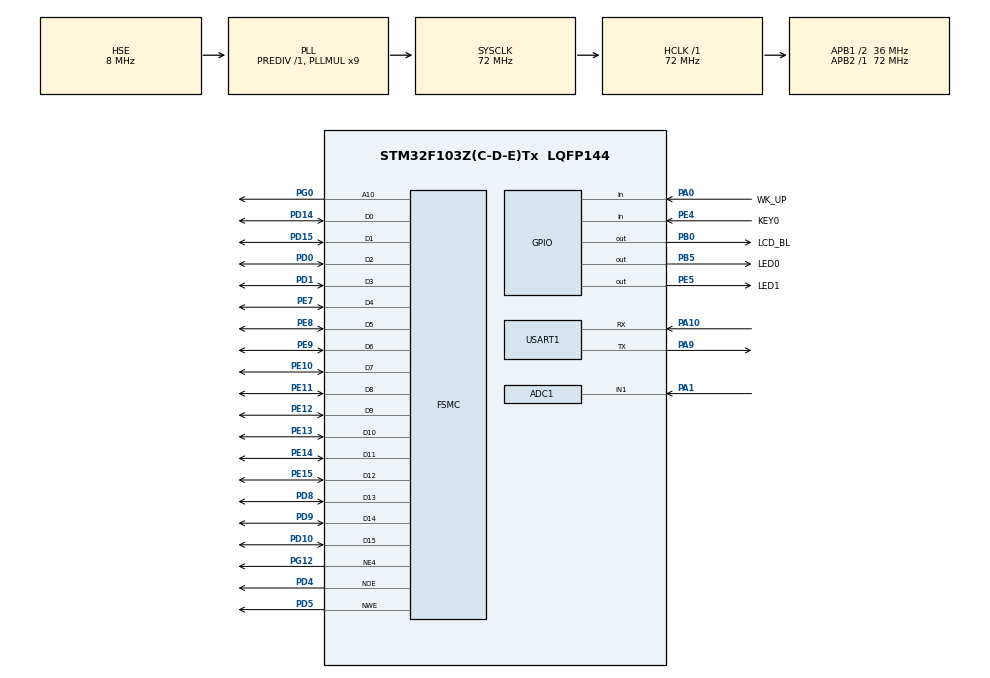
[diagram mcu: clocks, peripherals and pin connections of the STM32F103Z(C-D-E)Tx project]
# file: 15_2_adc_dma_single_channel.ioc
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ADC1.Channel-1\#ChannelRegularConversion=ADC_CHANNEL_1
ADC1.ContinuousConvMode=ENABLE
ADC1.NbrOfConversionFlag=1
ADC1.Rank-1\#ChannelRegularConversion=1
ADC1.SamplingTime-1\#ChannelRegularConversion=ADC_SAMPLETIME_239CYCLES_5
ADC1.master=1
Dma.ADC1.0.Direction=DMA_PERIPH_TO_MEMORY
Dma.ADC1.0.Instance=DMA1_Channel1
Dma.ADC1.0.MemDataAlignment=DMA_MDATAALIGN_HALFWORD
Dma.ADC1.0.MemInc=DMA_MINC_ENABLE
Dma.ADC1.0.Mode=DMA_NORMAL
Dma.ADC1.0.PeriphDataAlignment=DMA_PDATAALIGN_HALFWORD
Dma.ADC1.0.PeriphInc=DMA_PINC_DISABLE
Dma.ADC1.0.Priority=DMA_PRIORITY_MEDIUM
Dma.Request0=ADC1
FSMC.AddressSetupTime1=0
FSMC.DataSetupTime1=15
FSMC.ExtendedAddressSetupTime1=0
FSMC.ExtendedDataSetupTime1=1
FSMC.ExtendedMode1=FSMC_EXTENDED_MODE_ENABLE
Mcu.Family=STM32F1
Mcu.Name=STM32F103Z(C-D-E)Tx
Mcu.Package=LQFP144
NVIC.DMA1_Channel1_IRQn=true\:2\:1\:true\:false\:true\:false\:true\:true
NVIC.PriorityGroup=NVIC_PRIORITYGROUP_2
NVIC.USART1_IRQn=true\:2\:2\:true\:false\:true\:true\:true\:true
OSC_IN.Mode=HSE-External-Oscillator
OSC_IN.Signal=RCC_OSC_IN
OSC_OUT.Mode=HSE-External-Oscillator
OSC_OUT.Signal=RCC_OSC_OUT
PA0-WKUP.GPIO_Label=WK_UP
PA0-WKUP.GPIO_PuPd=GPIO_PULLDOWN
PA0-WKUP.Signal=GPIO_Input
PA1.Signal=ADCx_IN1
PA10.Mode=Asynchronous
PA10.Signal=USART1_RX
PA13.Mode=Serial_Wire
PA13.Signal=SYS_JTMS-SWDIO
PA14.Mode=Serial_Wire
PA14.Signal=SYS_JTCK-SWCLK
PA9.Mode=Asynchronous
PA9.Signal=USART1_TX
PB0.GPIO_Label=LCD_BL
PB0.GPIO_PuPd=GPIO_PULLUP
PB0.GPIO_Speed=GPIO_SPEED_FREQ_HIGH
PB0.PinState=GPIO_PIN_SET
PB0.Signal=GPIO_Output
PB5.GPIO_Label=LED0
PB5.GPIO_PuPd=GPIO_PULLDOWN
PB5.GPIO_Speed=GPIO_SPEED_FREQ_HIGH
PB5.PinState=GPIO_PIN_SET
PB5.Signal=GPIO_Output
PC14-OSC32_IN.Mode=LSE-External-Oscillator
PC14-OSC32_IN.Signal=RCC_OSC32_IN
PC15-OSC32_OUT.Mode=LSE-External-Oscillator
PC15-OSC32_OUT.Signal=RCC_OSC32_OUT
PD0.Signal=FSMC_D2_DA2
PD1.Signal=FSMC_D3_DA3
PD10.Signal=FSMC_D15_DA15
PD14.Signal=FSMC_D0_DA0
PD15.Signal=FSMC_D1_DA1
PD4.Signal=FSMC_NOE
PD5.Signal=FSMC_NWE
PD8.Signal=FSMC_D13_DA13
PD9.Signal=FSMC_D14_DA14
PE10.Signal=FSMC_D7_DA7
PE11.Signal=FSMC_D8_DA8
PE12.Signal=FSMC_D9_DA9
PE13.Signal=FSMC_D10_DA10
PE14.Signal=FSMC_D11_DA11
PE15.Signal=FSMC_D12_DA12
PE4.GPIO_Label=KEY0
PE4.GPIO_PuPd=GPIO_PULLDOWN
PE4.Signal=GPIO_Input
PE5.GPIO_Label=LED1
PE5.GPIO_PuPd=GPIO_PULLDOWN
PE5.GPIO_Speed=GPIO_SPEED_FREQ_HIGH
PE5.PinState=GPIO_PIN_SET
PE5.Signal=GPIO_Output
PE7.Signal=FSMC_D4_DA4
PE8.Signal=FSMC_D5_DA5
PE9.Signal=FSMC_D6_DA6
PG0.Signal=FSMC_A10
PG12.Mode=NorPsramChipSelect4_1
PG12.Signal=FSMC_NE4
ProjectManager.HeapSize=0x200
ProjectManager.StackSize=0x400
ProjectManager.TargetToolchain=STM32CubeIDE
RCC.ADCPresc=RCC_ADCPCLK2_DIV6
RCC.AHBFreq_Value=72000000
RCC.APB1CLKDivider=RCC_HCLK_DIV2
RCC.APB1Freq_Value=36000000
RCC.APB1TimFreq_Value=72000000
RCC.APB2Freq_Value=72000000
RCC.APB2TimFreq_Value=72000000
RCC.HCLKFreq_Value=72000000
RCC.PLLMUL=RCC_PLL_MUL9
RCC.PLLSourceVirtual=RCC_PLLSOURCE_HSE
RCC.SYSCLKFreq_VALUE=72000000
RCC.SYSCLKSource=RCC_SYSCLKSOURCE_PLLCLK
RCC.USBFreq_Value=72000000
SH.ADCx_IN1.0=ADC1_IN1,IN1
SH.FSMC_A10.0=FSMC_A10,A10_1
SH.FSMC_D0_DA0.0=FSMC_D0,16b-d1
SH.FSMC_D10_DA10.0=FSMC_D10,16b-d1
SH.FSMC_D11_DA11.0=FSMC_D11,16b-d1
SH.FSMC_D12_DA12.0=FSMC_D12,16b-d1
SH.FSMC_D13_DA13.0=FSMC_D13,16b-d1
SH.FSMC_D14_DA14.0=FSMC_D14,16b-d1
SH.FSMC_D15_DA15.0=FSMC_D15,16b-d1
SH.FSMC_D1_DA1.0=FSMC_D1,16b-d1
SH.FSMC_D2_DA2.0=FSMC_D2,16b-d1
SH.FSMC_D3_DA3.0=FSMC_D3,16b-d1
SH.FSMC_D4_DA4.0=FSMC_D4,16b-d1
SH.FSMC_D5_DA5.0=FSMC_D5,16b-d1
SH.FSMC_D6_DA6.0=FSMC_D6,16b-d1
SH.FSMC_D7_DA7.0=FSMC_D7,16b-d1
SH.FSMC_D8_DA8.0=FSMC_D8,16b-d1
SH.FSMC_D9_DA9.0=FSMC_D9,16b-d1
SH.FSMC_NOE.0=FSMC_NOE,Lcd1
SH.FSMC_NWE.0=FSMC_NWE,Lcd1
USART1.VirtualMode=VM_ASYNC
board=custom

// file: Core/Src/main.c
/* USER CODE BEGIN Header */
/**
 ****************************************************************************************************
 * @file        main.c
 * @author      ALIENTEK
 * @brief       adc_dma_single_channel code
 * @license     Copyright (C) 2012-2024, ALIENTEK
 ****************************************************************************************************
 * @attention
 *
 * platform     : ALIENTEK M144-STM32F103 board
 * website      : www.alientek.com
 * forum        : www.openedv.com/forum.php
 *
 * change logs  :
 * version      data         notes
 * V1.0         20240410     the first version
 *
 ****************************************************************************************************
 */
/* USER CODE END Header */
#include "main.h"
#include "adc.h"
#include "dma.h"
#include "usart.h"
#include "gpio.h"
#include "fsmc.h"

/* USER CODE BEGIN Includes */
#include "../../BSP/LED/led.h"
#include "../../BSP/KEY/key.h"
#include "../../BSP/LCD/lcd.h"
/* USER CODE END Includes */

void SystemClock_Config(void);
/* USER CODE BEGIN PFP */

#define ADC_DMA_BUF_SIZE 	100                             /* ADC DMA buffer size */
static uint16_t g_adc_dma_buf[ADC_DMA_BUF_SIZE];            /* ADC DMA buffer */
extern uint8_t g_adc_dma_sta;                               /* DMA transfer complete flag */

/* USER CODE END PFP */

int main(void)
{
  /* USER CODE BEGIN 1 */

	uint16_t i;
	uint16_t adcx;
	uint32_t sum;
	float temp;

  /* USER CODE END 1 */

  /* MCU Configuration--------------------------------------------------------*/

  /* Reset of all peripherals, Initializes the Flash interface and the Systick. */
  HAL_Init();

  /* Configure the system clock */
  SystemClock_Config();

  /* Initialize all configured peripherals */
  MX_GPIO_Init();
  MX_DMA_Init();
  MX_USART1_UART_Init();
  MX_FSMC_Init();
  MX_ADC1_Init();
  /* USER CODE BEGIN 2 */

  lcd_init();
  lcd_show_string(30, 50, 200, 16, 16, "STM32", RED);
  lcd_show_string(30, 70, 200, 16, 16, "ADC DMA TEST", RED);
  lcd_show_string(30, 90, 200, 16, 16, "ATOM@ALIENTEK", RED);

  lcd_show_string(30, 110, 200, 16, 16, "ADC1_CH1_VAL:0", BLUE);
  lcd_show_string(30, 130, 200, 16, 16, "ADC1_CH1_VOL:0.000V", BLUE);

  HAL_DMA_Start_IT(&hdma_adc1, (uint32_t)&ADC1->DR, (uint32_t)&g_adc_dma_buf, 0);	/* Start DMA and enable interrupt */
  HAL_ADC_Start_DMA(&hadc1, (uint32_t*)&g_adc_dma_buf, 0);           				/* Turn on the ADC and transmit the result via DMA */

  adc_dma_enable(ADC_DMA_BUF_SIZE);   /* Turn on the ADC and transmit the result by DMA */

  /* USER CODE END 2 */

  /* Infinite loop */
  while (1)
  {
      if (g_adc_dma_sta == 1)
      {
          /* Calculate the average value of ADC data collected by DMA */
          sum = 0;

          for (i = 0; i < ADC_DMA_BUF_SIZE; i++)          /* Accumulation */
          {
              sum += g_adc_dma_buf[i];
          }

          adcx = sum / ADC_DMA_BUF_SIZE;               	  /* Averaging */

          /* Displaying results */
          lcd_show_xnum(134, 110, adcx, 4, 16, 0, BLUE);

          temp = (float)adcx * (3.3 / 4096);              /* Get the calculated actual voltage value with decimal values, such as 3.1111 */
          adcx = temp;                    /* Assign the integer part to the adcx variable because adcx is integer u16 */
          lcd_show_xnum(134, 130, adcx, 1, 16, 0, BLUE);

          temp -= adcx;                   /* Remove the integer part that is already displayed, leaving the decimal part */
          temp *= 1000;                   /* Multiply the decimal part by 1000 */
          lcd_show_xnum(150, 130, temp, 3, 16, 0X80, BLUE);

          g_adc_dma_sta = 0;                              /* Clear the DMA collection completion status flag */
          adc_dma_enable(ADC_DMA_BUF_SIZE);               /* Start the next ADC DMA acquisition */
      }

    LED0_TOGGLE();                       /* LED0 state is flipped */
    HAL_Delay(100);
  }
}

void SystemClock_Config(void)
{
  RCC_OscInitTypeDef RCC_OscInitStruct = {0};
  RCC_ClkInitTypeDef RCC_ClkInitStruct = {0};
  RCC_PeriphCLKInitTypeDef PeriphClkInit = {0};

  /** Initializes the RCC Oscillators according to the specified parameters
  * in the RCC_OscInitTypeDef structure.
  */
  RCC_OscInitStruct.OscillatorType = RCC_OSCILLATORTYPE_HSE;
  RCC_OscInitStruct.HSEState = RCC_HSE_ON;
  RCC_OscInitStruct.HSEPredivValue = RCC_HSE_PREDIV_DIV1;
  RCC_OscInitStruct.HSIState = RCC_HSI_ON;
  RCC_OscInitStruct.PLL.PLLState = RCC_PLL_ON;
  RCC_OscInitStruct.PLL.PLLSource = RCC_PLLSOURCE_HSE;
  RCC_OscInitStruct.PLL.PLLMUL = RCC_PLL_MUL9;
  if (HAL_RCC_OscConfig(&RCC_OscInitStruct) != HAL_OK)
  {
    Error_Handler();
  }

  /** Initializes the CPU, AHB and APB buses clocks
  */
  RCC_ClkInitStruct.ClockType = RCC_CLOCKTYPE_HCLK|RCC_CLOCKTYPE_SYSCLK
                              |RCC_CLOCKTYPE_PCLK1|RCC_CLOCKTYPE_PCLK2;
  RCC_ClkInitStruct.SYSCLKSource = RCC_SYSCLKSOURCE_PLLCLK;
  RCC_ClkInitStruct.AHBCLKDivider = RCC_SYSCLK_DIV1;
  RCC_ClkInitStruct.APB1CLKDivider = RCC_HCLK_DIV2;
  RCC_ClkInitStruct.APB2CLKDivider = RCC_HCLK_DIV1;

  if (HAL_RCC_ClockConfig(&RCC_ClkInitStruct, FLASH_LATENCY_2) != HAL_OK)
  {
    Error_Handler();
  }
  PeriphClkInit.PeriphClockSelection = RCC_PERIPHCLK_ADC;
  PeriphClkInit.AdcClockSelection = RCC_ADCPCLK2_DIV6;
  if (HAL_RCCEx_PeriphCLKConfig(&PeriphClkInit) != HAL_OK)
  {
    Error_Handler();
  }
}

void Error_Handler(void)
{
  __disable_irq();
  while (1)
  {
  }
}
